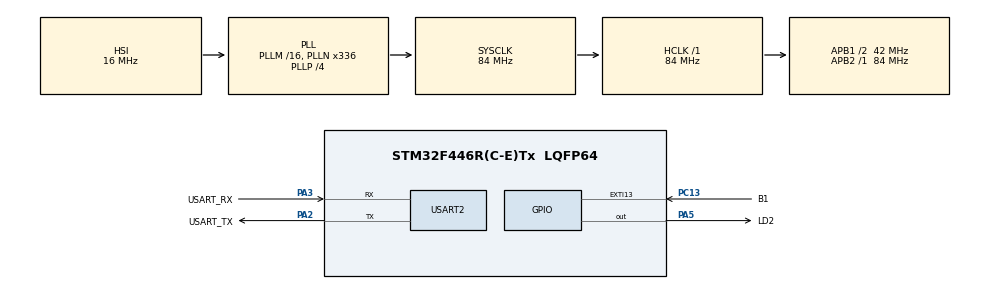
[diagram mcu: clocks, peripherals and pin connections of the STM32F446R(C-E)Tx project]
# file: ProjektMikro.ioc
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Mcu.Family=STM32F4
Mcu.Name=STM32F446R(C-E)Tx
Mcu.Package=LQFP64
NVIC.PriorityGroup=NVIC_PRIORITYGROUP_0
NVIC.USART2_IRQn=true\:0\:0\:false\:false\:true\:true\:true\:true
PA13.GPIO_Label=TMS
PA13.Signal=SYS_JTMS-SWDIO
PA14.GPIO_Label=TCK
PA14.Signal=SYS_JTCK-SWCLK
PA2.GPIO_Label=USART_TX
PA2.Mode=Asynchronous
PA2.Signal=USART2_TX
PA3.GPIO_Label=USART_RX
PA3.Mode=Asynchronous
PA3.Signal=USART2_RX
PA5.GPIO_Label=LD2 
PA5.Signal=GPIO_Output
PB3.GPIO_Label=SWO
PB3.Signal=SYS_JTDO-SWO
PC13.GPIO_Label=B1
PC13.GPIO_ModeDefaultEXTI=GPIO_MODE_IT_FALLING
PC13.Signal=GPXTI13
PC14-OSC32_IN.Signal=RCC_OSC32_IN
PC15-OSC32_OUT.Signal=RCC_OSC32_OUT
PH0-OSC_IN.Signal=RCC_OSC_IN
PH1-OSC_OUT.Signal=RCC_OSC_OUT
ProjectManager.HeapSize=0x200
ProjectManager.StackSize=0x400
ProjectManager.TargetToolchain=STM32CubeIDE
RCC.AHBFreq_Value=84000000
RCC.APB1CLKDivider=RCC_HCLK_DIV2
RCC.APB1Freq_Value=42000000
RCC.APB1TimFreq_Value=84000000
RCC.APB2Freq_Value=84000000
RCC.APB2TimFreq_Value=84000000
RCC.CortexFreq_Value=84000000
RCC.FLatency-AdvancedSettings=FLASH_LATENCY_2
RCC.HCLKFreq_Value=84000000
RCC.HSE_VALUE=8000000
RCC.HSI_VALUE=16000000
RCC.LSE_VALUE=32768
RCC.PLLN=336
RCC.PLLP=RCC_PLLP_DIV4
RCC.SYSCLKFreq_VALUE=84000000
RCC.SYSCLKSource=RCC_SYSCLKSOURCE_PLLCLK
RCC.USBFreq_Value=168000000
RCC.VCOOutputFreq_Value=336000000
USART2.VirtualMode=VM_ASYNC
board=NUCLEO-F446RE

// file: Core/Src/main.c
/* USER CODE BEGIN Header */
/**
  ******************************************************************************
  * @file           : main.c
  * @brief          : Main program body
  ******************************************************************************
  * @attention
  *
  * Copyright (c) 2026 STMicroelectronics.
  * All rights reserved.
  *
  * This software is licensed under terms that can be found in the LICENSE file
  * in the root directory of this software component.
  * If no LICENSE file comes with this software, it is provided AS-IS.
  *
  ******************************************************************************
  */
/* USER CODE END Header */
#include "main.h"
#include "usart.h"
#include "gpio.h"

/* USER CODE BEGIN Includes */
#include "ringbuffer.h"
#include <string.h>
#include <stdio.h>
/* USER CODE END Includes */

/* USER CODE BEGIN PD */
#define USART_LINE_LEN 128
/* USER CODE END PD */

/* USER CODE BEGIN PV */
RxRingBuffer rxBuffer;
TxRingBuffer txBuffer;
static uint8_t txByte;
static uint8_t rxByte;
volatile uint32_t USART_Errors;
/* USER CODE END PV */

void SystemClock_Config(void);
/* USER CODE BEGIN PFP */
void USART_Send(const char* str);
int8_t USART_GetLine(char* buf);
/* USER CODE END PFP */

int main(void)
{

  /* MCU Configuration--------------------------------------------------------*/

  /* Reset of all peripherals, Initializes the Flash interface and the Systick. */
  HAL_Init();

  /* Configure the system clock */
  SystemClock_Config();

  /* Initialize all configured peripherals */
  MX_GPIO_Init();
  MX_USART2_UART_Init();
  /* USER CODE BEGIN 2 */

  RxRB_Init(&rxBuffer);
  TxRB_Init(&txBuffer);

  HAL_UART_Receive_IT(&huart2, &rxByte, 1);
  USART_Send("START\r\n");

  char bx[USART_LINE_LEN];
  int len;
  uint32_t cntr = 0;

  char txMsgBuf[USART_LINE_LEN];

  /* USER CODE END 2 */

  /* Infinite loop */
  while (1)
  {
	  cntr++;
	  if((len = USART_GetLine(bx)) > 0) // Wykonujemy tylko gdy jest pełna linia
	  {
		  snprintf(txMsgBuf,sizeof(txMsgBuf), "REC[%d]> %s\r\n", len, bx);
		  USART_Send(txMsgBuf);

		  switch(bx[0])
		  {
		  	  case 'l':
		  	  case 'L':
		  		  HAL_GPIO_TogglePin(LD2_GPIO_Port,LD2_Pin);
		  		  USART_Send("Zmiana stanu diody\r\n");
		  		  break;
		  	  case 's':
		  	  case 'S':
		  		  snprintf(txMsgBuf, sizeof(txMsgBuf), "STAN SWITCHA USER %d\r\n", HAL_GPIO_ReadPin(B1_GPIO_Port, B1_Pin));
		  		  USART_Send(txMsgBuf);
		  		  break;
		  	  case '?':
		  		  snprintf(txMsgBuf, sizeof(txMsgBuf), "LOOP %lu RX_OVF %lu TX_OVF %lu ERR %lu\r\n",
		  				  cntr, (unsigned long)rxBuffer.overflowCount, (unsigned long)txBuffer.overflowCount, (unsigned long)USART_Errors);
		  		  USART_Send(txMsgBuf);
		  		  break;
		  	  default:
		  		  snprintf(txMsgBuf, sizeof(txMsgBuf), "nieznana komenda: %s\r\n");
		  		  USART_Send(txMsgBuf);
		  }
	  }
  }
}

void SystemClock_Config(void)
{
  RCC_OscInitTypeDef RCC_OscInitStruct = {0};
  RCC_ClkInitTypeDef RCC_ClkInitStruct = {0};

  /** Configure the main internal regulator output voltage
  */
  __HAL_RCC_PWR_CLK_ENABLE();
  __HAL_PWR_VOLTAGESCALING_CONFIG(PWR_REGULATOR_VOLTAGE_SCALE3);

  /** Initializes the RCC Oscillators according to the specified parameters
  * in the RCC_OscInitTypeDef structure.
  */
  RCC_OscInitStruct.OscillatorType = RCC_OSCILLATORTYPE_HSI;
  RCC_OscInitStruct.HSIState = RCC_HSI_ON;
  RCC_OscInitStruct.HSICalibrationValue = RCC_HSICALIBRATION_DEFAULT;
  RCC_OscInitStruct.PLL.PLLState = RCC_PLL_ON;
  RCC_OscInitStruct.PLL.PLLSource = RCC_PLLSOURCE_HSI;
  RCC_OscInitStruct.PLL.PLLM = 16;
  RCC_OscInitStruct.PLL.PLLN = 336;
  RCC_OscInitStruct.PLL.PLLP = RCC_PLLP_DIV4;
  RCC_OscInitStruct.PLL.PLLQ = 2;
  RCC_OscInitStruct.PLL.PLLR = 2;
  if (HAL_RCC_OscConfig(&RCC_OscInitStruct) != HAL_OK)
  {
    Error_Handler();
  }

  /** Initializes the CPU, AHB and APB buses clocks
  */
  RCC_ClkInitStruct.ClockType = RCC_CLOCKTYPE_HCLK|RCC_CLOCKTYPE_SYSCLK
                              |RCC_CLOCKTYPE_PCLK1|RCC_CLOCKTYPE_PCLK2;
  RCC_ClkInitStruct.SYSCLKSource = RCC_SYSCLKSOURCE_PLLCLK;
  RCC_ClkInitStruct.AHBCLKDivider = RCC_SYSCLK_DIV1;
  RCC_ClkInitStruct.APB1CLKDivider = RCC_HCLK_DIV2;
  RCC_ClkInitStruct.APB2CLKDivider = RCC_HCLK_DIV1;

  if (HAL_RCC_ClockConfig(&RCC_ClkInitStruct, FLASH_LATENCY_2) != HAL_OK)
  {
    Error_Handler();
  }
}

/* USER CODE BEGIN 4 */

void USART_Send(const char* str)
{
	uint16_t messageLen = (uint16_t)strlen(str);

	// Wpisujemy wiadomość (lub taką jej część jaka się zmieści)
	uint16_t i = 0;
	while(i < messageLen && TxRB_Push(&txBuffer, (uint8_t)str[i])) i++;

	// Jeżeli nie nadajemy i mamy coś do nadania
	// Zabezpieczenie przed pustym argumentem str
	__disable_irq();
	if(!txBuffer.active && TxRB_Pop(&txBuffer, &txByte))
	{
		HAL_StatusTypeDef ret = HAL_UART_Transmit_IT(&huart2, &txByte, 1);
		if(ret != HAL_OK)
		{
			// Jeżeli HAL nie przyjął polecenia nadania
			// Cofamy bufor aby nie stracić danych
			txBuffer.tail = (txBuffer.tail - 1) & TX_RINGBUFFER_MASK;
			txBuffer.active = false;
		}
		else
			txBuffer.active = true;
	}
	__enable_irq();
}

void HAL_UART_TxCpltCallback(UART_HandleTypeDef* huart)
{
	if(huart != &huart2) return;

	if(TxRB_Pop(&txBuffer, &txByte))
	{
		HAL_StatusTypeDef ret = HAL_UART_Transmit_IT(&huart2, &txByte, 1);
		if(ret != HAL_OK)
		{
			// Jeżeli HAL nie przyjął polecenia nadania
			// Cofamy bufor aby nie stracić danych
			txBuffer.tail = (txBuffer.tail - 1) & TX_RINGBUFFER_MASK;
			txBuffer.active = false;
		}
	}
	else
		txBuffer.active = false;

}

void HAL_UART_RxCpltCallback(UART_HandleTypeDef* huart)
{
	if(huart != &huart2) return;

	// Ignorujemy informacje zwrotną, czy bajt został odrzucony
	// Zostaje ona jedynie zapisana w buforze w overflowCount
	RxRB_Push(&rxBuffer, rxByte);

	HAL_UART_Receive_IT(&huart2, &rxByte, 1);
}

void HAL_UART_ErrorCallback(UART_HandleTypeDef* huart)
{
	if(huart == &huart2)
	{
		USART_Errors++;
		HAL_UART_Receive_IT(&huart2, &rxByte, 1);
	}
}

int8_t USART_GetLine(char* buf)
{
	static char bf[USART_LINE_LEN];
	static uint8_t idx = 0;
	static bool too_long = false;
	uint8_t c;
	int8_t ret;

	while(RxRB_Pop(&rxBuffer, &c))
	{
		if(c == '\r' || c == '\n')
		{
			if(too_long)
			{
				too_long = 0;
				idx = 0;
				USART_Send("ERR: linia za dluga\r\n");
				continue;
			}
			if(idx == 0) continue; // Pusta linia
			bf[idx] = 0;
			memcpy(buf, bf, idx + 1); // Z znakiem konca
			ret = idx;
			idx = 0;
			return ret;
		}
		if(idx < USART_LINE_LEN - 1)
		{
			bf[idx++] = (char)c;
		}
		else
		{
			too_long = 1;
		}
	}
	return 0; // Brak pełnej linii
}

/* USER CODE END 4 */

void Error_Handler(void)
{
  __disable_irq();
  while (1)
  {
  }
}
